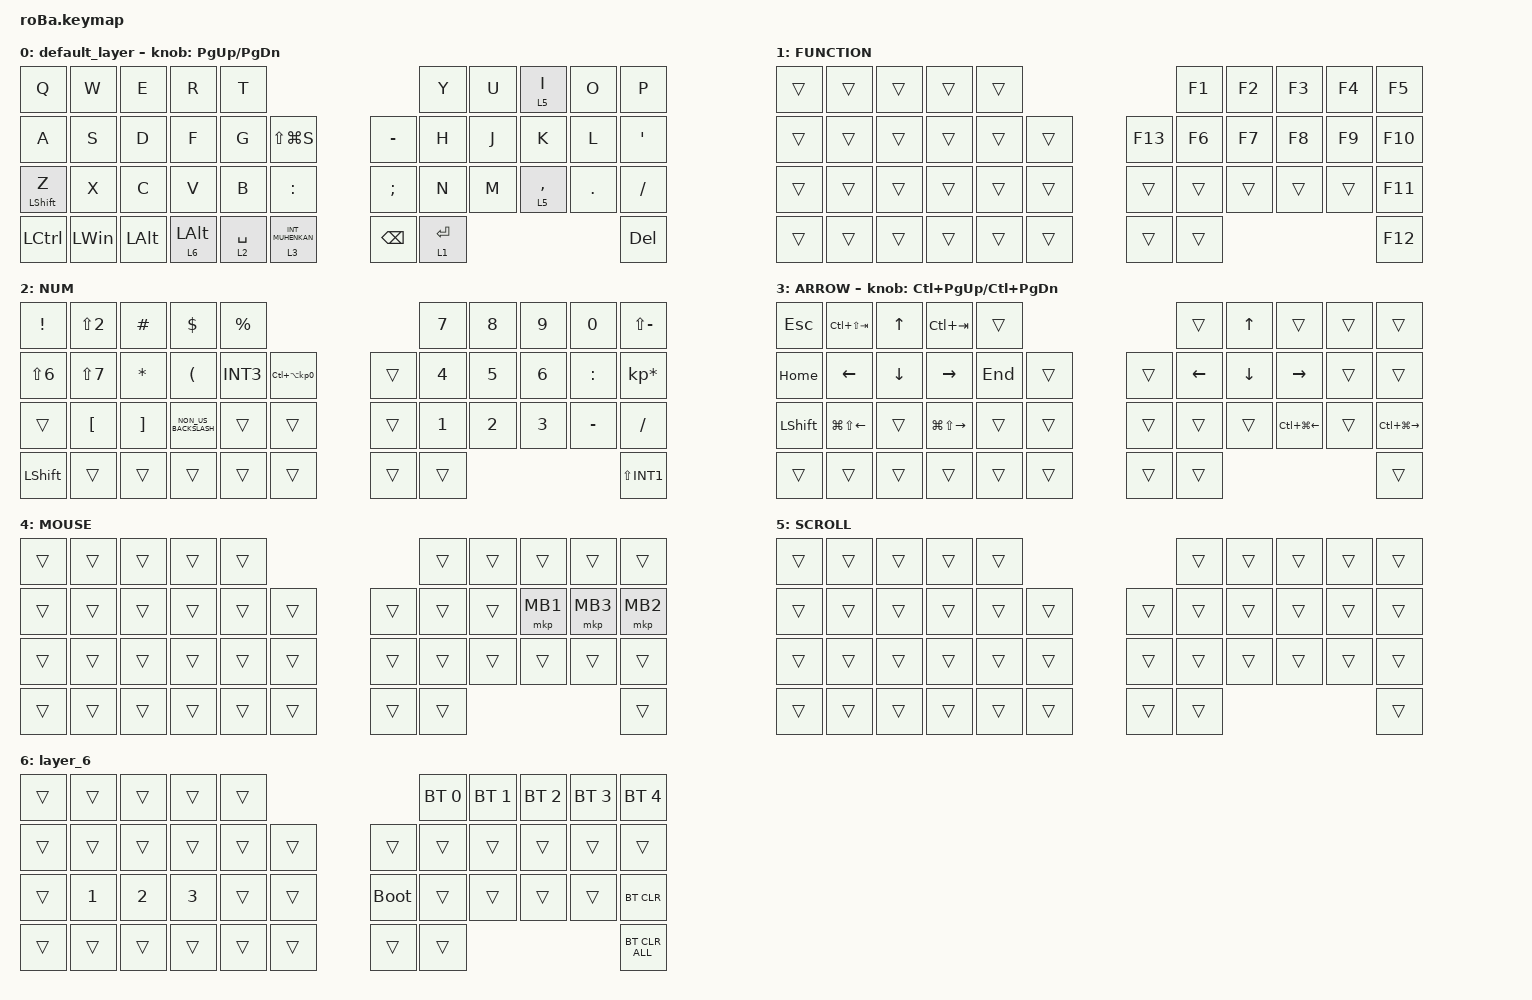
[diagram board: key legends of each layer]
#include <behaviors.dtsi>
#include <dt-bindings/zmk/bt.h>
#include <dt-bindings/zmk/keys.h>
#include <dt-bindings/zmk/pointing.h>

&mt {
    flavor = "balanced";
    quick-tap-ms = <0>;
};

&trackball {
    automouse-layer = <4>;
    scroll-layers = <5>;

    // arrows {
    //     layers = <3>;
    //     bindings =
    //         <&kp RIGHT_ARROW>,
    //         <&kp LEFT_ARROW>,
    //         <&kp UP_ARROW>,
    //         <&kp DOWN_ARROW>;
    //     tick = <10>;
    //     wait-ms = <5>;
    //     tap-ms = <5>;
    // };
};

/ {
    combos {
        compatible = "zmk,combos";

        tab {
            bindings = <&kp TAB>;
            key-positions = <11 12>;
        };

        shift_tab {
            bindings = <&kp LS(TAB)>;
            key-positions = <12 13>;
        };

        muhennkann {
            bindings = <&to_layer_0 INT_MUHENKAN>;
            key-positions = <11 10>;
        };

        double_quotation {
            bindings = <&kp DOUBLE_QUOTES>;
            key-positions = <20 21>;
        };

        eq {
            bindings = <&kp EQUAL>;
            key-positions = <24 25>;
        };

        wintab {
            bindings = <&kp LG(TAB)>;
            key-positions = <11 12 36>;
        };
    };

    macros {
        to_layer_0: to_layer_0 {
            compatible = "zmk,behavior-macro-one-param";
            #binding-cells = <1>;
            bindings = <&to 0 &macro_param_1to1 &kp MACRO_PLACEHOLDER>;
            label = "TO_LAYER_0";
        };
    };

    behaviors {
        lt_to_layer_0: lt_to_layer_0 {
            compatible = "zmk,behavior-hold-tap";
            label = "LAYER_TAP_TO_0";
            bindings = <&mo>, <&to_layer_0>;

            #binding-cells = <2>;
            tapping-term-ms = <200>;
        };
    };

    keymap {
        compatible = "zmk,keymap";

        default_layer {
            bindings = <
&kp Q             &kp W         &kp E         &kp R                  &kp T                                                          &kp Y        &kp U  &lt 5 I      &kp O    &kp P
&kp A             &kp S         &kp D         &kp F                  &kp G        &kp LS(LG(S))                      &kp MINUS      &kp H        &kp J  &kp K        &kp L    &kp SQT
&mt LEFT_SHIFT Z  &kp X         &kp C         &kp V                  &kp B        &kp COLON                          &kp SEMICOLON  &kp N        &kp M  &lt 5 COMMA  &kp DOT  &kp SLASH
&kp LCTRL         &kp LEFT_WIN  &kp LEFT_ALT  &lt_to_layer_0 6 LALT  &lt 2 SPACE  &lt_to_layer_0 3 INT_MUHENKAN      &kp BACKSPACE  &lt 1 ENTER                               &kp DEL
            >;

            sensor-bindings = <&inc_dec_kp PG_UP PAGE_DOWN>;
        };

        FUNCTION {
            bindings = <
&trans  &trans  &trans  &trans  &trans                       &kp F1  &kp F2  &kp F3  &kp F4  &kp F5
&trans  &trans  &trans  &trans  &trans  &trans      &kp F13  &kp F6  &kp F7  &kp F8  &kp F9  &kp F10
&trans  &trans  &trans  &trans  &trans  &trans      &trans   &trans  &trans  &trans  &trans  &kp F11
&trans  &trans  &trans  &trans  &trans  &trans      &trans   &trans                          &kp F12
            >;
        };

        NUM {
            bindings = <
&kp EXCLAMATION   &kp LS(NUMBER_2)  &kp HASH           &kp DOLLAR            &kp PERCENT                                       &kp NUMBER_7  &kp NUMBER_8  &kp NUMBER_9  &kp NUMBER_0  &kp LS(MINUS)
&kp LS(NUMBER_6)  &kp LS(NUMBER_7)  &kp ASTERISK       &kp LEFT_PARENTHESIS  &kp INT3     &kp LC(LA(KP_NUMBER_0))      &trans  &kp NUMBER_4  &kp NUMBER_5  &kp NUMBER_6  &kp COLON     &kp KP_MULTIPLY
&trans            &kp LEFT_BRACKET  &kp RIGHT_BRACKET  &kp NON_US_BACKSLASH  &trans       &trans                       &trans  &kp NUMBER_1  &kp NUMBER_2  &kp NUMBER_3  &kp MINUS     &kp SLASH
&kp LEFT_SHIFT    &trans            &trans             &trans                &trans       &trans                       &trans  &trans                                                  &kp LS(INT1)
            >;
        };

        ARROW {
            bindings = <
&kp ESCAPE      &kp LC(LS(TAB))         &kp UP_ARROW    &kp LC(TAB)              &trans                       &trans    &kp UP_ARROW  &trans            &trans  &trans
&kp HOME        &kp LEFT_ARROW          &kp DOWN_ARROW  &kp RIGHT_ARROW          &kp END  &trans      &trans  &kp LEFT  &kp DOWN      &kp RIGHT         &trans  &trans
&kp LEFT_SHIFT  &kp LG(LS(LEFT_ARROW))  &trans          &kp LG(LS(RIGHT_ARROW))  &trans   &trans      &trans  &trans    &trans        &kp LC(LG(LEFT))  &trans  &kp LC(LG(RIGHT))
&trans          &trans                  &trans          &trans                   &trans   &trans      &trans  &trans                                            &trans
            >;

            sensor-bindings = <&inc_dec_kp LC(PAGE_UP) LC(PAGE_DOWN)>;
        };

        MOUSE {
            bindings = <
&trans  &trans  &trans  &trans  &trans                      &trans  &trans  &trans    &trans    &trans
&trans  &trans  &trans  &trans  &trans  &trans      &trans  &trans  &trans  &mkp MB1  &mkp MB3  &mkp MB2
&trans  &trans  &trans  &trans  &trans  &trans      &trans  &trans  &trans  &trans    &trans    &trans
&trans  &trans  &trans  &trans  &trans  &trans      &trans  &trans                              &trans
            >;
        };

        SCROLL {
            bindings = <
&trans  &trans  &trans  &trans  &trans                      &trans  &trans  &trans  &trans  &trans
&trans  &trans  &trans  &trans  &trans  &trans      &trans  &trans  &trans  &trans  &trans  &trans
&trans  &trans  &trans  &trans  &trans  &trans      &trans  &trans  &trans  &trans  &trans  &trans
&trans  &trans  &trans  &trans  &trans  &trans      &trans  &trans                          &trans
            >;
        };

        layer_6 {
            bindings = <
&trans  &trans        &trans        &trans        &trans                           &bt BT_SEL 0  &bt BT_SEL 1  &bt BT_SEL 2  &bt BT_SEL 3  &bt BT_SEL 4
&trans  &trans        &trans        &trans        &trans  &trans      &trans       &trans        &trans        &trans        &trans        &trans
&trans  &kp NUMBER_1  &kp NUMBER_2  &kp NUMBER_3  &trans  &trans      &bootloader  &trans        &trans        &trans        &trans        &bt BT_CLR
&trans  &trans        &trans        &trans        &trans  &trans      &trans       &trans                                                  &bt BT_CLR_ALL
            >;
        };
    };
};
